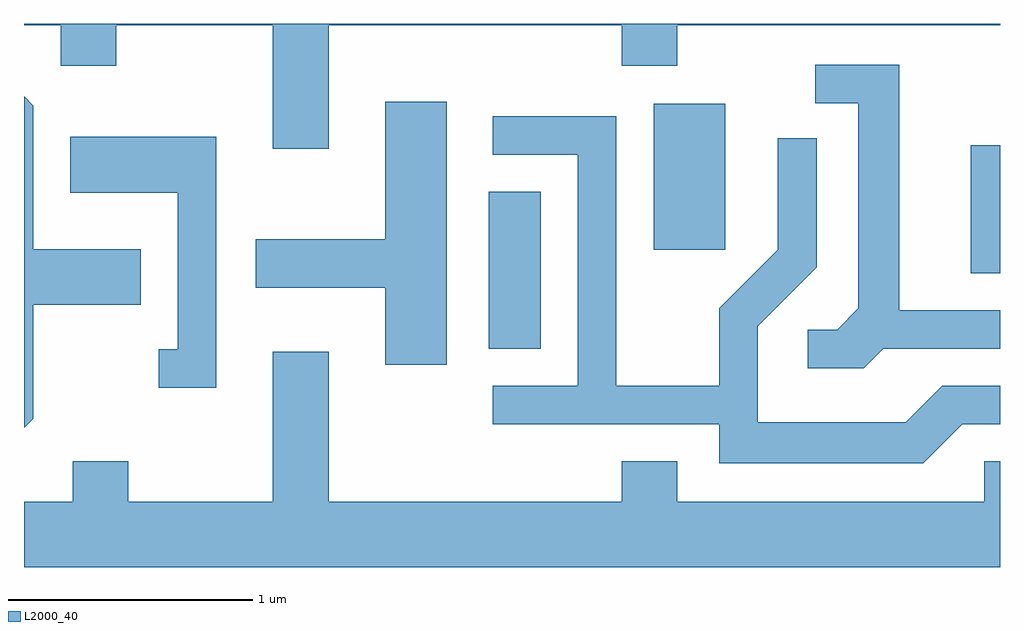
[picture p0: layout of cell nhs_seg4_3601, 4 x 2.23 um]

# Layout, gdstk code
import gdstk
lib = gdstk.Library(unit=1e-6, precision=1e-09)
def R(c, l, rs):  # rectangles x0, y0, x1, y1
    for r in rs: c.add(gdstk.rectangle(r[:2], r[2:], *l))
def P(c, l, *ps):  # polygons
    for p in ps: c.add(gdstk.Polygon(p, *l))
L2000_40 = (2000, 40)

nhs_seg4_3601 = lib.new_cell('nhs_seg4_3601')
R(nhs_seg4_3601, L2000_40, [(291.516,1386.651,291.729,1387.294), (293.491,1386.961,293.611,1387.484), (292.191,1387.056,292.484,1387.654)])
P(nhs_seg4_3601, L2000_40, [(290.859,1387.976),(292.061,1387.976),(292.061,1387.811),(292.289,1387.811),(292.289,1387.976),(293.611,1387.976),(293.611,1387.982),(289.611,1387.982),(289.611,1387.976),(289.761,1387.976),(289.761,1387.811),(289.989,1387.811),(289.989,1387.976),(290.631,1387.976),(290.631,1387.471),(290.859,1387.471)],
  [(293.132,1386.651),(293.611,1386.651),(293.611,1386.809),(293.199,1386.809),(293.199,1387.814),(292.853,1387.814),(292.853,1387.656),(293.031,1387.656),(293.031,1386.817),(292.944,1386.729),(292.823,1386.729),(292.823,1386.571),(293.052,1386.571)],
  [(289.649,1386.364),(289.649,1386.831),(290.089,1386.831),(290.089,1387.059),(289.649,1387.059),(289.649,1387.647),(289.611,1387.685),(289.611,1386.326)],
  [(291.344,1387.664),(291.091,1387.664),(291.091,1387.099),(290.561,1387.099),(290.561,1386.901),(291.091,1386.901),(291.091,1386.586),(291.344,1386.586)],
  [(293.457,1386.341),(293.611,1386.341),(293.611,1386.499),(293.374,1386.499),(293.224,1386.349),(292.619,1386.349),(292.619,1386.744),(292.859,1386.984),(292.859,1387.513),(292.701,1387.513),(292.701,1387.057),(292.461,1386.817),(292.461,1386.499),(292.039,1386.499),(292.039,1387.604),(291.533,1387.604),(291.533,1387.446),(291.881,1387.446),(291.881,1386.499),(291.533,1386.499),(291.533,1386.341),(292.461,1386.341),(292.461,1386.181),(293.297,1386.181)],
  [(290.399,1387.519),(289.801,1387.519),(289.801,1387.291),(290.241,1387.291),(290.241,1386.649),(290.163,1386.649),(290.163,1386.491),(290.399,1386.491)],
  [(293.611,1386.189),(293.546,1386.189),(293.546,1386.024),(292.289,1386.024),(292.289,1386.189),(292.061,1386.189),(292.061,1386.024),(290.859,1386.024),(290.859,1386.639),(290.631,1386.639),(290.631,1386.024),(290.039,1386.024),(290.039,1386.189),(289.811,1386.189),(289.811,1386.024),(289.611,1386.024),(289.611,1385.756),(293.611,1385.756)])

lib.write_gds('nhs_seg4_3601.gds')
